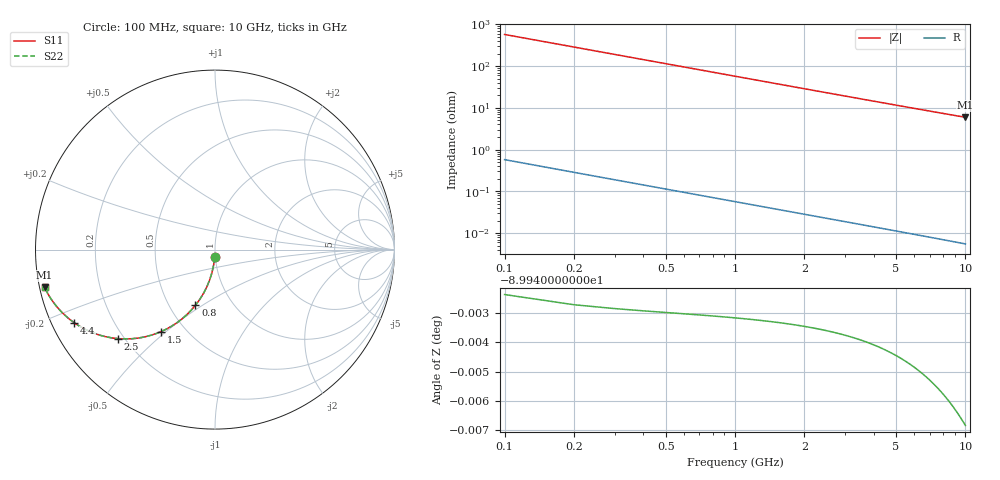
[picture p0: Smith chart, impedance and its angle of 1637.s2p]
# Hz S RI R 50.00
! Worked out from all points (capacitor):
!   100 points, 100 MHz to 10 GHz, reference 50 ohm
!   read as one part in shunt: C = 2.78 pF near 100 MHz
!   lowest |Z| = 5.95 ohm at 10 GHz (marker M1)
!   S11 on the Smith chart (normalised r, x): 100 MHz: 0.99, -0.09; 800 MHz: 0.67, -0.47; 1.5 GHz: 0.37, -0.48; 2.5 GHz: 0.18, -0.38; 4.4 GHz: 0.07, -0.24; 10 GHz: 0.01, -0.11
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1e8  -0.00194 -0.0435  0.998 -0.0437  0.998 -0.0437  -0.00194 -0.0435
2e8  -0.00765 -0.0866  0.9923 -0.0869  0.9923 -0.0869  -0.00765 -0.0866
3e8  -0.017 -0.1286  0.983 -0.1291  0.983 -0.1291  -0.017 -0.1286
4e8  -0.0298 -0.1692  0.9702 -0.1698  0.9702 -0.1698  -0.0298 -0.1692
5e8  -0.0457 -0.208  0.9542 -0.2088  0.9542 -0.2088  -0.0457 -0.208
6e8  -0.0645 -0.2447  0.9355 -0.2456  0.9355 -0.2456  -0.0645 -0.2447
8e8  -0.109 -0.3106  0.891 -0.3118  0.891 -0.3118  -0.109 -0.3106
9e8  -0.134 -0.3395  0.866 -0.3408  0.866 -0.3408  -0.134 -0.3395
1.1e9  -0.1876 -0.389  0.8124 -0.3907  0.8124 -0.3907  -0.1876 -0.389
1.3e9  -0.2436 -0.4278  0.7564 -0.4297  0.7564 -0.4297  -0.2436 -0.4278
1.5e9  -0.2999 -0.4566  0.7001 -0.4588  0.7001 -0.4588  -0.2999 -0.4566
1.8e9  -0.3811 -0.4838  0.6189 -0.4865  0.6189 -0.4865  -0.3811 -0.4838
2.1e9  -0.4556 -0.4959  0.5444 -0.4991  0.5444 -0.4991  -0.4556 -0.4959
2.5e9  -0.5421 -0.4958  0.4579 -0.4996  0.4579 -0.4996  -0.5421 -0.4958
2.9e9  -0.6139 -0.4841  0.386 -0.4885  0.386 -0.4885  -0.6139 -0.4841
3.4e9  -0.6857 -0.4611  0.3143 -0.4663  0.3143 -0.4663  -0.6857 -0.4611
3.9e9  -0.7413 -0.4344  0.2587 -0.4404  0.2587 -0.4404  -0.7413 -0.4344
4.4e9  -0.7846 -0.4072  0.2154 -0.414  0.2154 -0.414  -0.7846 -0.4072
5.1e9  -0.83 -0.3711  0.1699 -0.379  0.1699 -0.379  -0.83 -0.3711
6.7e9  -0.8937 -0.3024  0.1062 -0.3128  0.1062 -0.3128  -0.8937 -0.3024
8.4e9  -0.9297 -0.2485  0.0702 -0.2617  0.0702 -0.2617  -0.9297 -0.2485
1e10  -0.9494 -0.2106  0.0504 -0.2264  0.0504 -0.2264  -0.9494 -0.2106
